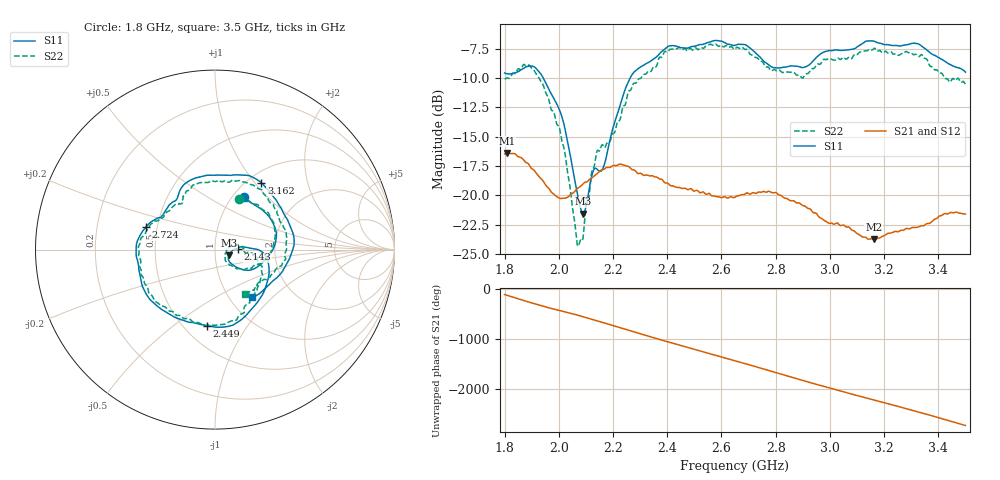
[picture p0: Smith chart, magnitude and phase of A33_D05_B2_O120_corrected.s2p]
! Created with skrf 1.9.0 (http://scikit-rf.org).
# Hz S RI R 50.0
!freq ReS11 ImS11 ReS21 ImS21 ReS12 ImS12 ReS22 ImS22
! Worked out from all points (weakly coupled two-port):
!   1601 points, 1.8 GHz to 3.5 GHz, reference 50 ohm
!   highest |S21| = -16.39 dB at 1.808 GHz (marker M1); lowest = -23.7 dB at 3.162 GHz (marker M2)
!   lowest |S11| = -21.6 dB at 2.09 GHz (marker M3), VSWR 1.18, Z = 58.2 - j3.75 ohm
!   |S11| at or under -10 dB: 1.943 GHz to 2.263 GHz (320.4 MHz wide, 15.2 % of centre)
!   |S22| runs from -24.3 to -7.1 dB; largest |S21 - S12| = 0.0027
!   S11 on the Smith chart (normalised r, x): 1.8 GHz: 1.13, +0.74; 2.143 GHz: 1.29, +0.01; 2.449 GHz: 0.64, -0.66; 2.724 GHz: 0.43, +0.13; 3.162 GHz: 1.15, +1.08; 3.5 GHz: 1.27, -0.75
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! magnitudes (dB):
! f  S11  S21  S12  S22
! 1.8 GHz  -9.6  -16.5  -16.5  -10.1
! 1.808 GHz  -9.6  -16.4  -16.4  -10.0
! 1.883 GHz  -9.0  -17.2  -17.3  -8.9
! 1.94 GHz  -9.9  -18.7  -18.7  -10.5
! 2.013 GHz  -13.4  -20.2  -20.2  -15.5
! 2.067 GHz  -19.6  -19.4  -19.5  -24.0
! 2.084 GHz  -21.3  -19.2  -19.1  -23.8
! 2.09 GHz  -21.6  -19.0  -19.0  -23.5
! 2.125 GHz  -18.0  -18.5  -18.4  -17.7
! 2.143 GHz  -17.8  -18.1  -18.1  -16.2
! 2.167 GHz  -17.5  -17.8  -17.8  -15.9
! 2.263 GHz  -10.0  -17.7  -17.7  -11.1
! 2.367 GHz  -8.0  -18.5  -18.5  -8.5
! 2.449 GHz  -7.4  -19.4  -19.4  -7.5
! 2.65 GHz  -7.2  -20.2  -20.1  -7.5
! 2.724 GHz  -7.8  -19.8  -19.8  -8.2
! 2.796 GHz  -9.1  -19.8  -19.7  -9.3
! 2.934 GHz  -8.7  -21.3  -21.3  -9.2
! 3.162 GHz  -6.9  -23.7  -23.7  -7.5
! 3.217 GHz  -7.2  -23.2  -23.2  -7.9
! 3.324 GHz  -7.1  -22.7  -22.7  -8.1
! 3.5 GHz  -9.5  -21.6  -21.6  -10.5
